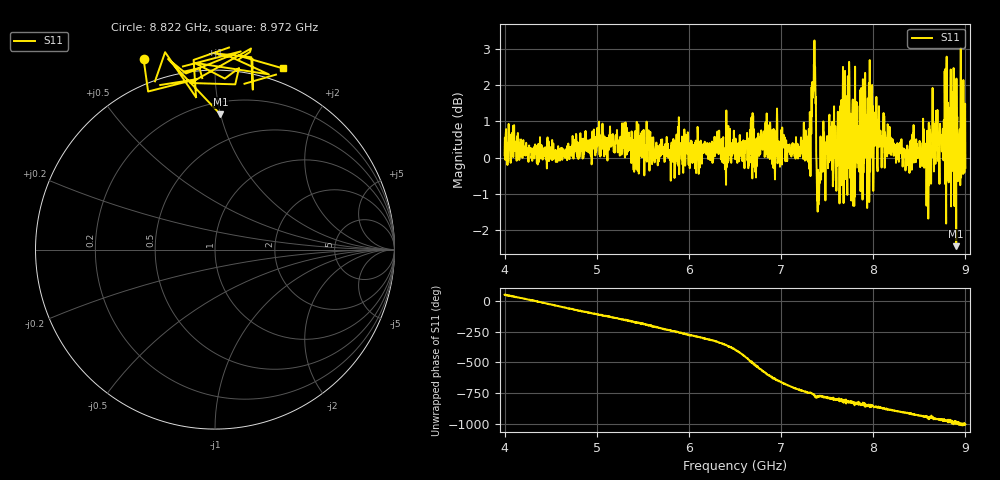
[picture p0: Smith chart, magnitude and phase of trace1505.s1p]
! Created with skrf 1.8.0 (http://scikit-rf.org).
# Hz S RI R 50.0
!freq ReS11 ImS11
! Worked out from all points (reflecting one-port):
!   1601 points, 4 GHz to 9 GHz, reference 50 ohm
!   lowest |S11| = -2.5 dB at 8.9 GHz (marker M1), VSWR 7.14, Z = 14.3 + j49.9 ohm
!   phase of S11 starts at 49 deg and turns -1050 deg over the sweep
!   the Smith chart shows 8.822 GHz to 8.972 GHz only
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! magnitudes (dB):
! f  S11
! 4 GHz  0.1
! 4.625 GHz  -0.1
! 5.25 GHz  0.1
! 5.875 GHz  0.2
! 6.5 GHz  0.3
! 7.125 GHz  0.4
! 7.294 GHz  -0.1
! 7.353 GHz  1.8
! 7.409 GHz  -0.6
! 7.453 GHz  -0.4
! 7.516 GHz  0.1
! 7.584 GHz  0.0
! 7.669 GHz  1.5
! 7.75 GHz  -0.6
! 7.775 GHz  1.3
! 7.828 GHz  0.4
! 7.928 GHz  0.8
! 7.981 GHz  0.3
! 8.134 GHz  0.3
! 8.375 GHz  0.2
! 8.434 GHz  0.1
! 8.603 GHz  1.0
! 8.656 GHz  0.9
! 8.725 GHz  0.9
! 8.775 GHz  2.4
! 8.9 GHz  -2.5
! 8.972 GHz  0.7
! 9 GHz  -0.3
